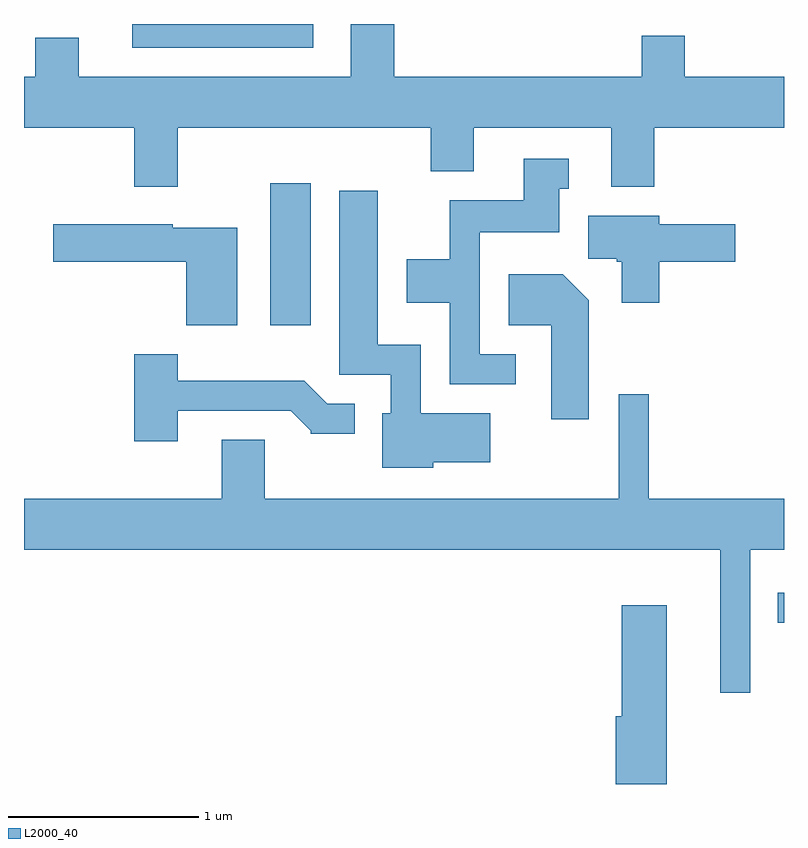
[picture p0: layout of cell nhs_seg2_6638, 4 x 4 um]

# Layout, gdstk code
import gdstk
lib = gdstk.Library(unit=1e-6, precision=1e-09)
def R(c, l, rs):  # rectangles x0, y0, x1, y1
    for r in rs: c.add(gdstk.rectangle(r[:2], r[2:], *l))
def P(c, l, *ps):  # polygons
    for p in ps: c.add(gdstk.Polygon(p, *l))
L2000_40 = (2000, 40)

nhs_seg2_6638 = lib.new_cell('nhs_seg2_6638')
R(nhs_seg2_6638, L2000_40, [(385.578,994.651,385.611,994.809), (382.906,996.216,383.119,996.964), (382.181,997.676,383.134,997.802)])
P(nhs_seg2_6638, L2000_40, [(382.419,997.256),(383.751,997.256),(383.751,997.026),(383.979,997.026),(383.979,997.256),(384.701,997.256),(384.701,996.946),(384.929,996.946),(384.929,997.256),(385.611,997.256),(385.611,997.524),(385.089,997.524),(385.089,997.739),(384.861,997.739),(384.861,997.524),(383.559,997.524),(383.559,997.802),(383.331,997.802),(383.331,997.524),(381.899,997.524),(381.899,997.729),(381.671,997.729),(381.671,997.524),(381.611,997.524),(381.611,997.256),(382.191,997.256),(382.191,996.946),(382.419,996.946)],
  [(384.198,996.064),(384.009,996.064),(384.009,996.706),(384.429,996.706),(384.429,996.936),(384.478,996.936),(384.478,997.094),(384.241,997.094),(384.241,996.874),(383.851,996.874),(383.851,996.564),(383.626,996.564),(383.626,996.336),(383.851,996.336),(383.851,995.906),(384.198,995.906)],
  [(383.764,995.496),(384.064,995.496),(384.064,995.754),(383.699,995.754),(383.699,996.114),(383.474,996.114),(383.474,996.924),(383.271,996.924),(383.271,995.956),(383.541,995.956),(383.541,995.754),(383.496,995.754),(383.496,995.466),(383.764,995.466)],
  [(384.954,996.551),(385.354,996.551),(385.354,996.749),(384.954,996.749),(384.954,996.794),(384.581,996.794),(384.581,996.566),(384.73,996.566),(384.73,996.551),(384.756,996.551),(384.756,996.336),(384.954,996.336)],
  [(382.734,996.729),(382.394,996.729),(382.394,996.749),(381.766,996.749),(381.766,996.551),(382.466,996.551),(382.466,996.216),(382.734,996.216)],
  [(384.584,996.347),(384.447,996.484),(384.161,996.484),(384.161,996.216),(384.386,996.216),(384.386,995.721),(384.584,995.721)],
  [(382.419,995.766),(383.014,995.766),(383.12,995.66),(383.12,995.646),(383.353,995.646),(383.353,995.804),(383.207,995.804),(383.087,995.924),(382.419,995.924),(382.419,996.064),(382.191,996.064),(382.191,995.606),(382.419,995.606)],
  [(385.434,995.036),(385.611,995.036),(385.611,995.304),(384.899,995.304),(384.899,995.853),(384.741,995.853),(384.741,995.304),(382.879,995.304),(382.879,995.614),(382.651,995.614),(382.651,995.304),(381.611,995.304),(381.611,995.036),(385.276,995.036),(385.276,994.283),(385.434,994.283)],
  [(384.994,994.744),(384.756,994.744),(384.756,994.159),(384.726,994.159),(384.726,993.802),(384.994,993.802)])

lib.write_gds('nhs_seg2_6638.gds')
